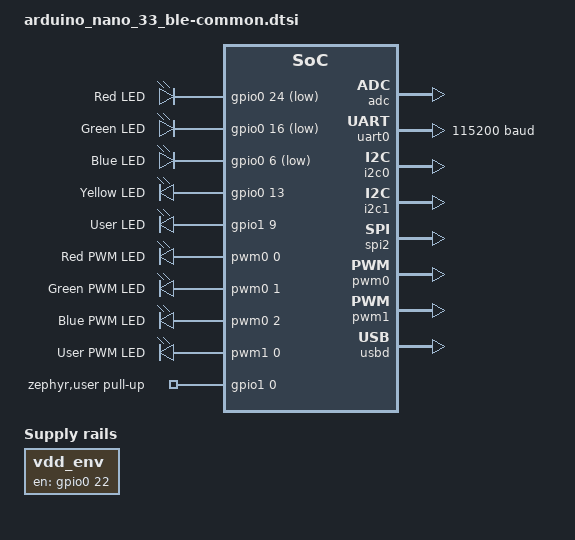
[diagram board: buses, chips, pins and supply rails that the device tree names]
/*
 * Copyright (c) 2020 Jefferson Lee
 *
 * SPDX-License-Identifier: Apache-2.0
 */

/ {
	chosen {
		zephyr,console = &uart0;
		zephyr,shell-uart = &uart0;
		zephyr,uart-mcumgr = &uart0;
		zephyr,bt-mon-uart = &uart0;
		zephyr,bt-c2h-uart = &uart0;
		zephyr,sram = &sram0;
		zephyr,flash = &flash0;
		zephyr,code-partition = &code_partition;
	};

	leds {
		compatible = "gpio-leds";
		led0: led_0 {
			gpios = <&gpio0 24 GPIO_ACTIVE_LOW>;
			label = "Red LED";
		};
		led1: led_1 {
			gpios = <&gpio0 16 GPIO_ACTIVE_LOW>;
			label = "Green LED";
		};
		led2: led_2 {
			gpios = <&gpio0 6 GPIO_ACTIVE_LOW>;
			label = "Blue LED";
		};
		led3: led_3 {
			/* Cannot be used together with spi2. */
			gpios = <&gpio0 13 GPIO_ACTIVE_HIGH>;
			label = "Yellow LED";
		};
		led4: led_4 {
			gpios = <&gpio1 9 GPIO_ACTIVE_HIGH>;
			label = "User LED";
		};
	};

	pwmleds {
		compatible = "pwm-leds";

		red_pwm_led: led_pwm_0 {
			pwms = <&pwm0 0 PWM_MSEC(20) PWM_POLARITY_INVERTED>;
			label = "Red PWM LED";
		};
		green_pwm_led: led_pwm_1 {
			pwms = <&pwm0 1 PWM_MSEC(20) PWM_POLARITY_INVERTED>;
			label = "Green PWM LED";
		};
		blue_pwm_led: led_pwm_2 {
			pwms = <&pwm0 2 PWM_MSEC(20) PWM_POLARITY_INVERTED>;
			label = "Blue PWM LED";
		};
		user_pwm_led: led_pwm_4 {
			pwms = <&pwm1 0 PWM_MSEC(20) PWM_POLARITY_NORMAL>;
			label = "User PWM LED";
		};
	};

	pwmleds2 {
		compatible = "pwm-leds";
		/* Cannot be used together with spi2. */
		status = "disabled";

		yellow_pwm_led: led_pwm_3 {
			pwms = <&pwm2 0 PWM_MSEC(20) PWM_POLARITY_NORMAL>;
			label = "Yellow PWM LED";
		};
	};

	vdd_env: vdd-env {
		compatible = "regulator-fixed";
		label = "vdd_env";
		regulator-name = "vdd_env";
		enable-gpios = <&gpio0 22 GPIO_ACTIVE_HIGH>;
		regulator-boot-on;
		startup-delay-us = <5000>;
	};

	zephyr,user {
		/* I2C pull-ups are connected to VDD via pin voltage level */
		pull-up-gpios = <&gpio1 0 GPIO_ACTIVE_HIGH>;
	};

	/* These aliases are provided for compatibility with samples */
	aliases {
		led0 = &led0;
		led1 = &led1;
		led2 = &led2;
		led3 = &led3;
		led4 = &led4;
		pwm-led0 = &red_pwm_led;
		pwm-led1 = &green_pwm_led;
		pwm-led2 = &blue_pwm_led;
		pwm-led3 = &yellow_pwm_led;
		pwm-led4 = &user_pwm_led;
		red-pwm-led = &red_pwm_led;
		green-pwm-led = &green_pwm_led;
		blue-pwm-led = &blue_pwm_led;
		spi = &spi2;
	};
};

&flash0 {
	partitions {
		compatible = "fixed-partitions";
		#address-cells = <1>;
		#size-cells = <1>;

		boot_partition: partition@0 {
			label = "sam-ba";
			reg = <0x00000000 0x00010000>;
			read-only;
		};

		code_partition: partition@10000 {
			label = "code";
			reg = <0x00010000 0x000e8000>;
			read-only;
		};

		/*
		 * The flash starting at 0x000f8000 and ending at
		 * 0x000fffff is reserved for use by the application.
		 *
		 * Storage partition will be used by FCB/LittleFS/NVS
		 * if enabled.
		 */
		storage_partition: partition@f8000 {
			label = "storage";
			reg = <0x000f8000 0x00008000>;
		};
	};
};

&adc {
	status = "okay";
};

&uart0 {
	compatible = "nordic,nrf-uart";
	current-speed = <115200>;
	status = "okay";
	pinctrl-0 = <&uart0_default>;
	pinctrl-1 = <&uart0_sleep>;
	pinctrl-names = "default", "sleep";
};

arduino_i2c: &i2c0 {
	compatible = "nordic,nrf-twim";
	status = "okay";
	pinctrl-0 = <&i2c0_default>;
	pinctrl-1 = <&i2c0_sleep>;
	pinctrl-names = "default", "sleep";
};

&i2c1 {
	compatible = "nordic,nrf-twim";
	status = "okay";
	pinctrl-0 = <&i2c1_default>;
	pinctrl-1 = <&i2c1_sleep>;
	pinctrl-names = "default", "sleep";
};

/* SPI2 is used because SPI1/0 shares conflicts with I2C1/0 */
arduino_spi: &spi2 {
	compatible = "nordic,nrf-spim";
	status = "okay";
	pinctrl-0 = <&spi2_default>;
	pinctrl-1 = <&spi2_sleep>;
	pinctrl-names = "default", "sleep";
};

&gpio0 {
	status = "okay";
};

&gpio1 {
	status = "okay";
};

&pwm0 {
	status = "okay";
	pinctrl-0 = <&pwm0_default>;
	pinctrl-1 = <&pwm0_sleep>;
	pinctrl-names = "default", "sleep";
};

&pwm1 {
	status = "okay";
	pinctrl-0 = <&pwm1_default>;
	pinctrl-1 = <&pwm1_sleep>;
	pinctrl-names = "default", "sleep";
};

&pwm2 {
	/* Cannot be used together with spi2 because of conflict on P0.13. */
	status = "disabled";
	pinctrl-0 = <&pwm2_default>;
	pinctrl-1 = <&pwm2_sleep>;
	pinctrl-names = "default", "sleep";
};

zephyr_udc0: &usbd {
	compatible = "nordic,nrf-usbd";
	status = "okay";
};
